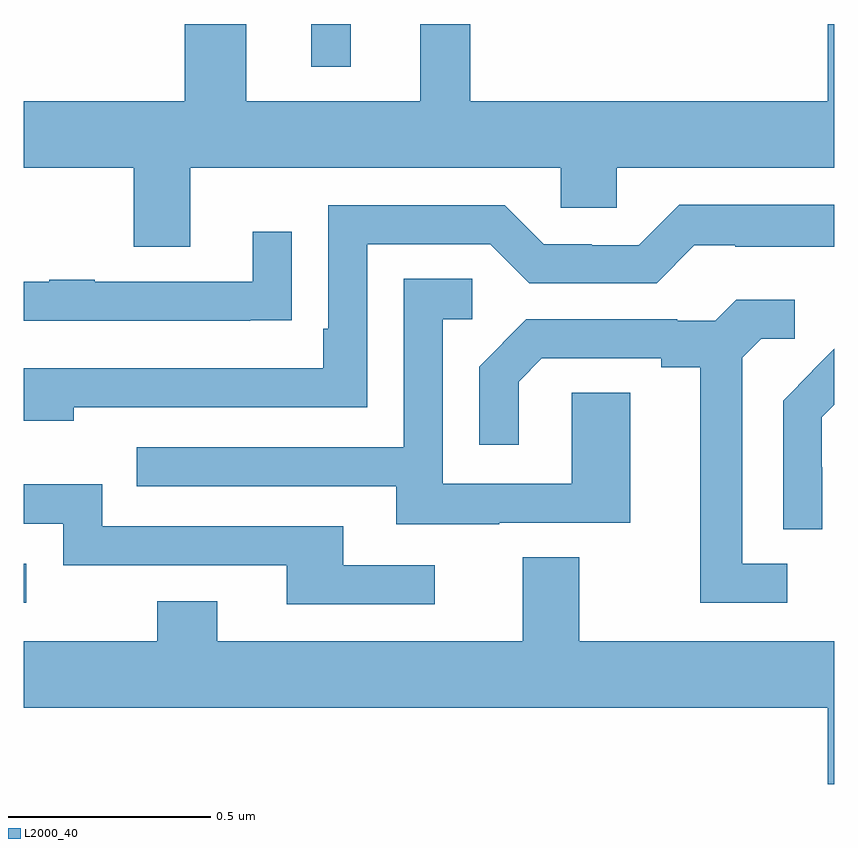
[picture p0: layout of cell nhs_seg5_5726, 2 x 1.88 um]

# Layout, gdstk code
import gdstk
lib = gdstk.Library(unit=1e-6, precision=1e-09)
def R(c, l, rs):  # rectangles x0, y0, x1, y1
    for r in rs: c.add(gdstk.rectangle(r[:2], r[2:], *l))
def P(c, l, *ps):  # polygons
    for p in ps: c.add(gdstk.Polygon(p, *l))
L2000_40 = (2000, 40)

nhs_seg5_5726 = lib.new_cell('nhs_seg5_5726')
R(nhs_seg5_5726, L2000_40, [(187,838.371,187.006,838.467), (187.709,839.693,187.807,839.799)])
P(nhs_seg5_5726, L2000_40, [(188.325,839.346),(188.463,839.346),(188.463,839.444),(189,839.444),(189,839.799),(188.984,839.799),(188.984,839.608),(188.102,839.608),(188.102,839.799),(187.979,839.799),(187.979,839.608),(187.549,839.608),(187.549,839.799),(187.397,839.799),(187.397,839.608),(187,839.608),(187,839.444),(187.271,839.444),(187.271,839.25),(187.411,839.25),(187.411,839.444),(188.325,839.444)],
  [(187.124,838.854),(187.848,838.854),(187.848,839.256),(188.151,839.256),(188.247,839.16),(188.562,839.16),(188.655,839.253),(188.755,839.253),(188.755,839.249),(189,839.249),(189,839.353),(188.617,839.353),(188.517,839.253),(188.402,839.253),(188.402,839.256),(188.283,839.256),(188.187,839.352),(187.752,839.352),(187.752,839.047),(187.739,839.047),(187.739,838.95),(187,838.95),(187,838.82),(187.124,838.82)],
  [(187.559,839.068),(187.661,839.068),(187.661,839.287),(187.565,839.287),(187.565,839.163),(187.175,839.163),(187.175,839.168),(187.063,839.168),(187.063,839.163),(187,839.163),(187,839.067),(187.559,839.067)],
  [(188.173,838.569),(188.497,838.569),(188.497,838.889),(188.352,838.889),(188.352,838.665),(188.034,838.665),(188.034,839.07),(188.107,839.07),(188.107,839.171),(187.938,839.171),(187.938,838.755),(187.279,838.755),(187.279,838.659),(187.919,838.659),(187.919,838.565),(188.173,838.565)],
  [(188.884,838.467),(188.773,838.467),(188.773,838.975),(188.82,839.022),(188.902,839.022),(188.902,839.119),(188.758,839.119),(188.706,839.067),(188.612,839.067),(188.612,839.07),(188.24,839.07),(188.124,838.954),(188.124,838.761),(188.221,838.761),(188.221,838.917),(188.278,838.974),(188.573,838.974),(188.573,838.952),(188.669,838.952),(188.669,838.371),(188.884,838.371)],
  [(188.97,838.706),(188.969,838.706),(188.969,838.829),(189,838.86),(189,838.998),(188.946,838.944),(188.947,838.943),(188.874,838.87),(188.874,838.552),(188.97,838.552)],
  [(188.014,838.464),(187.789,838.464),(187.789,838.56),(187.194,838.56),(187.194,838.663),(187,838.663),(187,838.566),(187.098,838.566),(187.098,838.464),(187.649,838.464),(187.649,838.368),(188.014,838.368)],
  [(189,838.276),(188.371,838.276),(188.371,838.484),(188.231,838.484),(188.231,838.276),(187.477,838.276),(187.477,838.375),(187.33,838.375),(187.33,838.276),(187,838.276),(187,838.112),(188.984,838.112),(188.984,837.924),(189,837.924)])

lib.write_gds('nhs_seg5_5726.gds')
